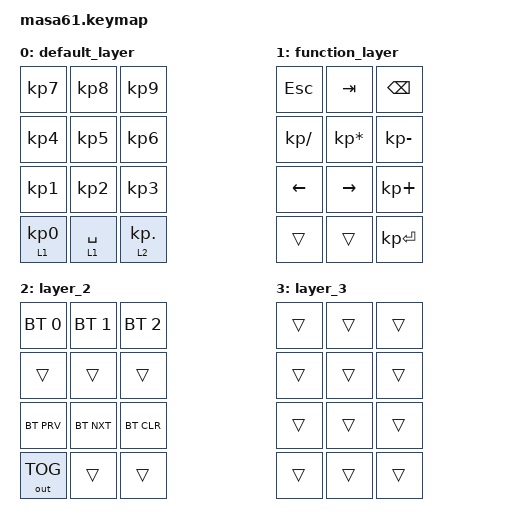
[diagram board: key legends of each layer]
/*
 * Copyright (c) 2020 The ZMK Contributors
 *
 * SPDX-License-Identifier: MIT
 */

#include <behaviors.dtsi>
#include <dt-bindings/zmk/bt.h>
#include <dt-bindings/zmk/keys.h>
#include <dt-bindings/zmk/outputs.h>

#define DEF 0
#define FUN 1

&lt { quick_tap_ms = <220>; };

&mt { quick_tap_ms = <220>; };

/ {
    keymap {
        compatible = "zmk,keymap";

        default_layer {
            bindings = <
&kp KP_NUMBER_7    &kp KP_NUMBER_8  &kp KP_NUMBER_9
&kp KP_NUMBER_4    &kp KP_NUMBER_5  &kp KP_NUMBER_6
&kp KP_NUMBER_1    &kp KP_NUMBER_2  &kp KP_NUMBER_3
&lt 1 KP_NUMBER_0  &lt 1 SPACE      &lt 2 KP_DOT
            >;
        };

        function_layer {
            bindings = <
&kp ESCAPE    &kp TAB          &kp BACKSPACE
&kp KP_SLASH  &kp KP_ASTERISK  &kp KP_MINUS
&kp LEFT      &kp RIGHT        &kp KP_PLUS
&trans        &trans           &kp KP_ENTER
            >;
        };

        layer_2 {
            bindings = <
&bt BT_SEL 0  &bt BT_SEL 1  &bt BT_SEL 2
&trans        &trans        &trans
&bt BT_PRV    &bt BT_NXT    &bt BT_CLR
&out OUT_TOG  &trans        &trans
            >;
        };

        layer_3 {
            bindings = <
&trans  &trans  &trans
&trans  &trans  &trans
&trans  &trans  &trans
&trans  &trans  &trans
            >;
        };
    };
};
